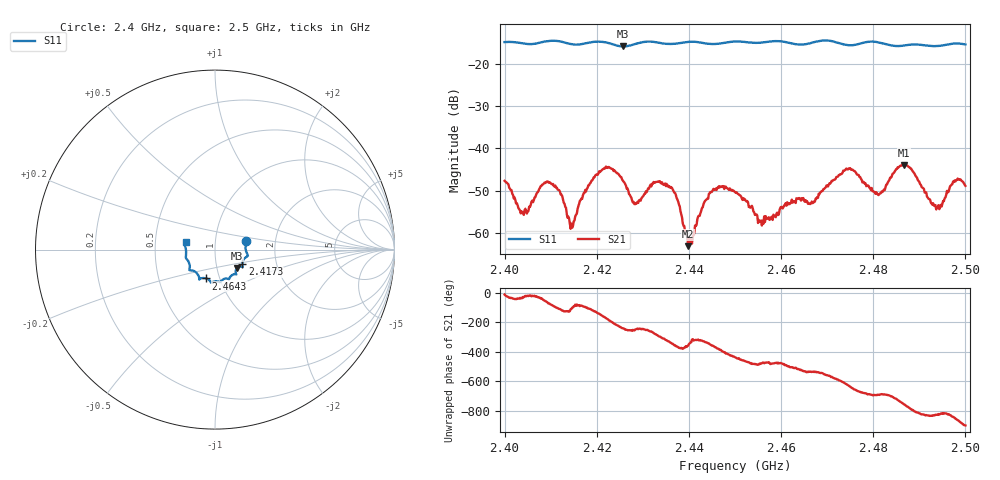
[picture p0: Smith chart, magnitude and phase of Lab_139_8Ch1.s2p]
# Hz S RI R 50
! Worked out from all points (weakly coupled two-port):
!   601 points, 2.4 GHz to 2.5 GHz, reference 50 ohm
!   highest |S21| = -43.98 dB at 2.4867 GHz (marker M1); lowest = -63.1 dB at 2.4398 GHz (marker M2)
!   lowest |S11| = -15.9 dB at 2.4257 GHz (marker M3), VSWR 1.38, Z = 62.5 - j13.1 ohm
!   |S11| at or under -10 dB: start of sweep to end of sweep
!   S12 and S22 are empty: the file has one direction only
!   S11 on the Smith chart (normalised r, x): 2.4 GHz: 1.41, +0.14; 2.4173 GHz: 1.34, -0.23; 2.4643 GHz: 0.86, -0.28; 2.5 GHz: 0.72, +0.06
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2.4e9  0.1732 0.0494  0.00403 -0.000855  0 0  0 0
2.403833e9  0.1723 0.0268  0.00138 -0.00103  0 0  0 0
2.41e9  0.1835 -0.0328  0.000715 -0.0038  0 0  0 0
2.414667e9  0.1611 -0.0525  -0.000222 -0.00113  0 0  0 0
2.416667e9  0.1529 -0.0745  0.000126 -0.00255  0 0  0 0
2.417333e9  0.1521 -0.0819  -0.000281 -0.00296  0 0  0 0
2.422e9  0.1514 -0.0946  -0.00599 -0.000958  0 0  0 0
2.425667e9  0.1227 -0.1024  -0.00208 0.00358  0 0  0 0
2.4285e9  0.1151 -0.1277  -0.000893 0.00207  0 0  0 0
2.433333e9  0.1128 -0.137  0.00149 0.00376  0 0  0 0
2.436667e9  0.0894 -0.1468  0.00308 0.000496  0 0  0 0
2.439833e9  0.0798 -0.1625  0.000696 2.1e-05  0 0  0 0
2.444833e9  0.057 -0.1611  0.00301 0.000311  0 0  0 0
2.45e9  0.0293 -0.1808  0.000737 -0.00295  0 0  0 0
2.455667e9  -0.00395 -0.1774  -0.000659 -0.00124  0 0  0 0
2.464333e9  -0.0499 -0.1605  -0.00228 -0.00076  0 0  0 0
2.466667e9  -0.0759 -0.1597  -0.00234 -0.000167  0 0  0 0
2.4745e9  -0.1016 -0.1309  -0.000474 0.00559  0 0  0 0
2.483333e9  -0.1407 -0.0899  0.00364 0.00185  0 0  0 0
2.486667e9  -0.1534 -0.0584  0.00526 -0.00351  0 0  0 0
2.493833e9  -0.1616 -0.00395  -0.000527 -0.00191  0 0  0 0
2.5e9  -0.1636 0.042  -0.0036 -0.000141  0 0  0 0
